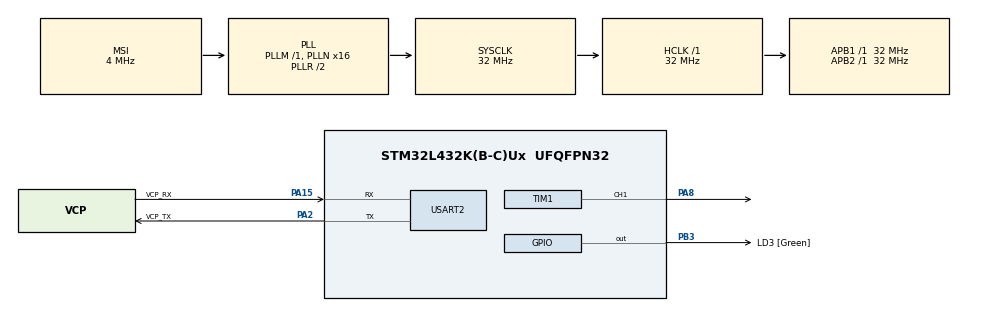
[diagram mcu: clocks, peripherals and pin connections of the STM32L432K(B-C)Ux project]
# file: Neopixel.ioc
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Dma.Request0=TIM1_CH1
Dma.TIM1_CH1.0.Direction=DMA_MEMORY_TO_PERIPH
Dma.TIM1_CH1.0.Instance=DMA1_Channel2
Dma.TIM1_CH1.0.MemDataAlignment=DMA_MDATAALIGN_WORD
Dma.TIM1_CH1.0.MemInc=DMA_MINC_ENABLE
Dma.TIM1_CH1.0.Mode=DMA_NORMAL
Dma.TIM1_CH1.0.PeriphDataAlignment=DMA_PDATAALIGN_WORD
Dma.TIM1_CH1.0.PeriphInc=DMA_PINC_DISABLE
Dma.TIM1_CH1.0.Priority=DMA_PRIORITY_VERY_HIGH
Mcu.Family=STM32L4
Mcu.Name=STM32L432K(B-C)Ux
Mcu.Package=UFQFPN32
NVIC.DMA1_Channel2_IRQn=true\:0\:0\:false\:false\:true\:false\:true\:true
NVIC.PriorityGroup=NVIC_PRIORITYGROUP_4
PA0.GPIO_Label=MCO [High speed clock in]
PA0.Mode=HSE-External-Clock-Source-for-LittleOrca
PA0.Signal=RCC_CK_IN
PA13\ (JTMS-SWDIO).GPIO_Label=SWDIO
PA13\ (JTMS-SWDIO).Mode=Serial_Wire
PA13\ (JTMS-SWDIO).Signal=SYS_JTMS-SWDIO
PA14\ (JTCK-SWCLK).GPIO_Label=SWCLK
PA14\ (JTCK-SWCLK).Mode=Serial_Wire
PA14\ (JTCK-SWCLK).Signal=SYS_JTCK-SWCLK
PA15\ (JTDI).GPIO_Label=VCP_RX
PA15\ (JTDI).Mode=Asynchronous
PA15\ (JTDI).Signal=USART2_RX
PA2.GPIO_Label=VCP_TX
PA2.Mode=Asynchronous
PA2.Signal=USART2_TX
PA8.Signal=S_TIM1_CH1
PB3\ (JTDO-TRACESWO).GPIO_Label=LD3 [Green]
PB3\ (JTDO-TRACESWO).Signal=GPIO_Output
PC14-OSC32_IN\ (PC14).Mode=LSE-External-Oscillator
PC14-OSC32_IN\ (PC14).Signal=RCC_OSC32_IN
PC15-OSC32_OUT\ (PC15).Mode=LSE-External-Oscillator
PC15-OSC32_OUT\ (PC15).Signal=RCC_OSC32_OUT
ProjectManager.HeapSize=0x200
ProjectManager.StackSize=0x400
ProjectManager.TargetToolchain=CMake
RCC.AHBFreq_Value=32000000
RCC.APB1Freq_Value=32000000
RCC.APB1TimFreq_Value=32000000
RCC.APB2Freq_Value=32000000
RCC.APB2TimFreq_Value=32000000
RCC.CortexFreq_Value=32000000
RCC.HCLKFreq_Value=32000000
RCC.HSE_VALUE=8000000
RCC.HSI16_VALUE=16000000
RCC.HSI48_VALUE=48000000
RCC.HSI_VALUE=16000000
RCC.MSI_VALUE=4000000
RCC.PLLMUL=RCC_PLLMUL_4
RCC.PLLN=16
RCC.SYSCLKFreq_VALUE=32000000
RCC.SYSCLKSource=RCC_SYSCLKSOURCE_PLLCLK
RCC.VCOOutputFreq_Value=64000000
SH.S_TIM1_CH1.0=TIM1_CH1,PWM Generation1 CH1
TIM1.Channel-PWM\ Generation1\ CH1=TIM_CHANNEL_1
TIM1.Period=38
USART2.VirtualMode-Asynchronous=VM_ASYNC
VP_TIM1_VS_ClockSourceINT.Mode=Internal
board=NUCLEO-L432KC

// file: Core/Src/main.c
/* USER CODE BEGIN Header */
/**
  ******************************************************************************
  * @file           : main.c
  * @author         : Wietse Houwers
  * @brief          : NeoPixel (WS2812) demo on Nucleo-L432KC
  *
  * This file contains the user application entry point. It drives one or more
  * NeoPixel-compatible RGB LEDs using TIM1 + DMA to generate the required
  * 800 kHz PWM signal. The main loop cycles a single pixel through a simple
  * color sequence: Red Green Blue Yellow White.
  *
  * Copyright (c) 2025 ProtoIoT.
  * All rights reserved.
  *
  * This project is based on STM32CubeMX-generated startup code and HAL drivers,
  * which remain under their original STMicroelectronics license terms.
  *
  ******************************************************************************
  */
/* USER CODE END Header */
#include "main.h"

/* USER CODE BEGIN PTD */
typedef union
{
  struct
  {
    uint8_t b;
    uint8_t r;
    uint8_t g;
  } color;
  uint32_t data;
} PixelRGB_t;
/* USER CODE END PTD */

/* USER CODE BEGIN PD */

#define NEOPIXEL_ZERO 12
#define NEOPIXEL_ONE  23
#define NUM_PIXELS 1
#define DMA_BUFF_SIZE (NUM_PIXELS * 24) + 1
/* USER CODE END PD */

TIM_HandleTypeDef htim1;
DMA_HandleTypeDef hdma_tim1_ch1;

UART_HandleTypeDef huart2;

void SystemClock_Config(void);
static void MX_GPIO_Init(void);
static void MX_DMA_Init(void);
static void MX_USART2_UART_Init(void);
static void MX_TIM1_Init(void);

/* USER CODE BEGIN 0 */
void HAL_TIM_PWM_PulseFinishedCallback(TIM_HandleTypeDef *htim)
{
  HAL_TIM_PWM_Stop_DMA(htim, TIM_CHANNEL_1);
}
/* USER CODE END 0 */

int main(void)
{

  /* USER CODE BEGIN 1 */
  PixelRGB_t pixel[NUM_PIXELS] = {0};
  uint32_t dmaBuffer[DMA_BUFF_SIZE] = {0};
  uint32_t *pBuff;
  int i, j;
  uint8_t colorIndex = 0;
  /* USER CODE END 1 */

  /* MCU Configuration--------------------------------------------------------*/

  /* Reset of all peripherals, Initializes the Flash interface and the Systick. */
  HAL_Init();

  /* Configure the system clock */
  SystemClock_Config();

  /* Initialize all configured peripherals */
  MX_GPIO_Init();
  MX_DMA_Init();
  MX_USART2_UART_Init();
  MX_TIM1_Init();

  /* Infinite loop */
  while (1)
  {

  /* USER CODE BEGIN 3 */

  // --- Set pixel color based on current state ---
  switch (colorIndex)
  {
    case 0: // Red
      pixel[0].color.r = 255;
      pixel[0].color.g = 0;
      pixel[0].color.b = 0;
      break;

    case 1: // Green
      pixel[0].color.r = 0;
      pixel[0].color.g = 255;
      pixel[0].color.b = 0;
      break;

    case 2: // Blue
      pixel[0].color.r = 0;
      pixel[0].color.g = 0;
      pixel[0].color.b = 255;
      break;

    case 3: // Yellow (Red + Green)
      pixel[0].color.r = 255;
      pixel[0].color.g = 255;
      pixel[0].color.b = 0;
      break;

    case 4: // White (Red + Green + Blue)
      pixel[0].color.r = 255;
      pixel[0].color.g = 255;
      pixel[0].color.b = 255;
      break;
  }

  // --- Build DMA buffer from pixel bits (MSB first) ---
  pBuff = dmaBuffer;
  for (i = 0; i < NUM_PIXELS; i++)
  {
    for (j = 23; j >= 0; j--)
    {
      if ((pixel[i].data >> j) & 0x01)
        *pBuff = NEOPIXEL_ONE;
      else
        *pBuff = NEOPIXEL_ZERO;
      pBuff++;
    }
  }
  // reset slot (low)
  dmaBuffer[DMA_BUFF_SIZE - 1] = 0;

  // --- Send one frame ---
  HAL_TIM_PWM_Start_DMA(&htim1, TIM_CHANNEL_1, dmaBuffer, DMA_BUFF_SIZE);

  // --- Hold this color for a bit ---
  HAL_Delay(300);

  // --- Advance to next color ---
  colorIndex = (colorIndex + 1) % 5;

  }
  /* USER CODE END 3 */
}

void SystemClock_Config(void)
{
  RCC_OscInitTypeDef RCC_OscInitStruct = {0};
  RCC_ClkInitTypeDef RCC_ClkInitStruct = {0};

  /** Configure the main internal regulator output voltage
  */
  if (HAL_PWREx_ControlVoltageScaling(PWR_REGULATOR_VOLTAGE_SCALE1) != HAL_OK)
  {
    Error_Handler();
  }

  /** Configure LSE Drive Capability
  */
  HAL_PWR_EnableBkUpAccess();
  __HAL_RCC_LSEDRIVE_CONFIG(RCC_LSEDRIVE_LOW);

  /** Initializes the RCC Oscillators according to the specified parameters
  * in the RCC_OscInitTypeDef structure.
  */
  RCC_OscInitStruct.OscillatorType = RCC_OSCILLATORTYPE_LSE|RCC_OSCILLATORTYPE_MSI;
  RCC_OscInitStruct.LSEState = RCC_LSE_ON;
  RCC_OscInitStruct.MSIState = RCC_MSI_ON;
  RCC_OscInitStruct.MSICalibrationValue = 0;
  RCC_OscInitStruct.MSIClockRange = RCC_MSIRANGE_6;
  RCC_OscInitStruct.PLL.PLLState = RCC_PLL_ON;
  RCC_OscInitStruct.PLL.PLLSource = RCC_PLLSOURCE_MSI;
  RCC_OscInitStruct.PLL.PLLM = 1;
  RCC_OscInitStruct.PLL.PLLN = 16;
  RCC_OscInitStruct.PLL.PLLP = RCC_PLLP_DIV7;
  RCC_OscInitStruct.PLL.PLLQ = RCC_PLLQ_DIV2;
  RCC_OscInitStruct.PLL.PLLR = RCC_PLLR_DIV2;
  if (HAL_RCC_OscConfig(&RCC_OscInitStruct) != HAL_OK)
  {
    Error_Handler();
  }

  /** Initializes the CPU, AHB and APB buses clocks
  */
  RCC_ClkInitStruct.ClockType = RCC_CLOCKTYPE_HCLK|RCC_CLOCKTYPE_SYSCLK
                              |RCC_CLOCKTYPE_PCLK1|RCC_CLOCKTYPE_PCLK2;
  RCC_ClkInitStruct.SYSCLKSource = RCC_SYSCLKSOURCE_PLLCLK;
  RCC_ClkInitStruct.AHBCLKDivider = RCC_SYSCLK_DIV1;
  RCC_ClkInitStruct.APB1CLKDivider = RCC_HCLK_DIV1;
  RCC_ClkInitStruct.APB2CLKDivider = RCC_HCLK_DIV1;

  if (HAL_RCC_ClockConfig(&RCC_ClkInitStruct, FLASH_LATENCY_1) != HAL_OK)
  {
    Error_Handler();
  }

  /** Enable MSI Auto calibration
  */
  HAL_RCCEx_EnableMSIPLLMode();
}

static void MX_TIM1_Init(void)
{

  TIM_ClockConfigTypeDef sClockSourceConfig = {0};
  TIM_MasterConfigTypeDef sMasterConfig = {0};
  TIM_OC_InitTypeDef sConfigOC = {0};
  TIM_BreakDeadTimeConfigTypeDef sBreakDeadTimeConfig = {0};

  htim1.Instance = TIM1;
  htim1.Init.Prescaler = 0;
  htim1.Init.CounterMode = TIM_COUNTERMODE_UP;
  htim1.Init.Period = 38;
  htim1.Init.ClockDivision = TIM_CLOCKDIVISION_DIV1;
  htim1.Init.RepetitionCounter = 0;
  htim1.Init.AutoReloadPreload = TIM_AUTORELOAD_PRELOAD_DISABLE;
  if (HAL_TIM_Base_Init(&htim1) != HAL_OK)
  {
    Error_Handler();
  }
  sClockSourceConfig.ClockSource = TIM_CLOCKSOURCE_INTERNAL;
  if (HAL_TIM_ConfigClockSource(&htim1, &sClockSourceConfig) != HAL_OK)
  {
    Error_Handler();
  }
  if (HAL_TIM_PWM_Init(&htim1) != HAL_OK)
  {
    Error_Handler();
  }
  sMasterConfig.MasterOutputTrigger = TIM_TRGO_RESET;
  sMasterConfig.MasterOutputTrigger2 = TIM_TRGO2_RESET;
  sMasterConfig.MasterSlaveMode = TIM_MASTERSLAVEMODE_DISABLE;
  if (HAL_TIMEx_MasterConfigSynchronization(&htim1, &sMasterConfig) != HAL_OK)
  {
    Error_Handler();
  }
  sConfigOC.OCMode = TIM_OCMODE_PWM1;
  sConfigOC.Pulse = 0;
  sConfigOC.OCPolarity = TIM_OCPOLARITY_HIGH;
  sConfigOC.OCNPolarity = TIM_OCNPOLARITY_HIGH;
  sConfigOC.OCFastMode = TIM_OCFAST_DISABLE;
  sConfigOC.OCIdleState = TIM_OCIDLESTATE_RESET;
  sConfigOC.OCNIdleState = TIM_OCNIDLESTATE_RESET;
  if (HAL_TIM_PWM_ConfigChannel(&htim1, &sConfigOC, TIM_CHANNEL_1) != HAL_OK)
  {
    Error_Handler();
  }
  sBreakDeadTimeConfig.OffStateRunMode = TIM_OSSR_DISABLE;
  sBreakDeadTimeConfig.OffStateIDLEMode = TIM_OSSI_DISABLE;
  sBreakDeadTimeConfig.LockLevel = TIM_LOCKLEVEL_OFF;
  sBreakDeadTimeConfig.DeadTime = 0;
  sBreakDeadTimeConfig.BreakState = TIM_BREAK_DISABLE;
  sBreakDeadTimeConfig.BreakPolarity = TIM_BREAKPOLARITY_HIGH;
  sBreakDeadTimeConfig.BreakFilter = 0;
  sBreakDeadTimeConfig.Break2State = TIM_BREAK2_DISABLE;
  sBreakDeadTimeConfig.Break2Polarity = TIM_BREAK2POLARITY_HIGH;
  sBreakDeadTimeConfig.Break2Filter = 0;
  sBreakDeadTimeConfig.AutomaticOutput = TIM_AUTOMATICOUTPUT_DISABLE;
  if (HAL_TIMEx_ConfigBreakDeadTime(&htim1, &sBreakDeadTimeConfig) != HAL_OK)
  {
    Error_Handler();
  }
  HAL_TIM_MspPostInit(&htim1);

}

static void MX_USART2_UART_Init(void)
{

  huart2.Instance = USART2;
  huart2.Init.BaudRate = 115200;
  huart2.Init.WordLength = UART_WORDLENGTH_8B;
  huart2.Init.StopBits = UART_STOPBITS_1;
  huart2.Init.Parity = UART_PARITY_NONE;
  huart2.Init.Mode = UART_MODE_TX_RX;
  huart2.Init.HwFlowCtl = UART_HWCONTROL_NONE;
  huart2.Init.OverSampling = UART_OVERSAMPLING_16;
  huart2.Init.OneBitSampling = UART_ONE_BIT_SAMPLE_DISABLE;
  huart2.AdvancedInit.AdvFeatureInit = UART_ADVFEATURE_NO_INIT;
  if (HAL_UART_Init(&huart2) != HAL_OK)
  {
    Error_Handler();
  }

}

static void MX_DMA_Init(void)
{

  /* DMA controller clock enable */
  __HAL_RCC_DMA1_CLK_ENABLE();

  /* DMA interrupt init */
  /* DMA1_Channel2_IRQn interrupt configuration */
  HAL_NVIC_SetPriority(DMA1_Channel2_IRQn, 0, 0);
  HAL_NVIC_EnableIRQ(DMA1_Channel2_IRQn);

}

static void MX_GPIO_Init(void)
{
  GPIO_InitTypeDef GPIO_InitStruct = {0};

  /* GPIO Ports Clock Enable */
  __HAL_RCC_GPIOC_CLK_ENABLE();
  __HAL_RCC_GPIOA_CLK_ENABLE();
  __HAL_RCC_GPIOB_CLK_ENABLE();

  /*Configure GPIO pin Output Level */
  HAL_GPIO_WritePin(LD3_GPIO_Port, LD3_Pin, GPIO_PIN_RESET);

  /*Configure GPIO pin : LD3_Pin */
  GPIO_InitStruct.Pin = LD3_Pin;
  GPIO_InitStruct.Mode = GPIO_MODE_OUTPUT_PP;
  GPIO_InitStruct.Pull = GPIO_NOPULL;
  GPIO_InitStruct.Speed = GPIO_SPEED_FREQ_LOW;
  HAL_GPIO_Init(LD3_GPIO_Port, &GPIO_InitStruct);

}

void Error_Handler(void)
{
  __disable_irq();
  while (1)
  {
  }
}
